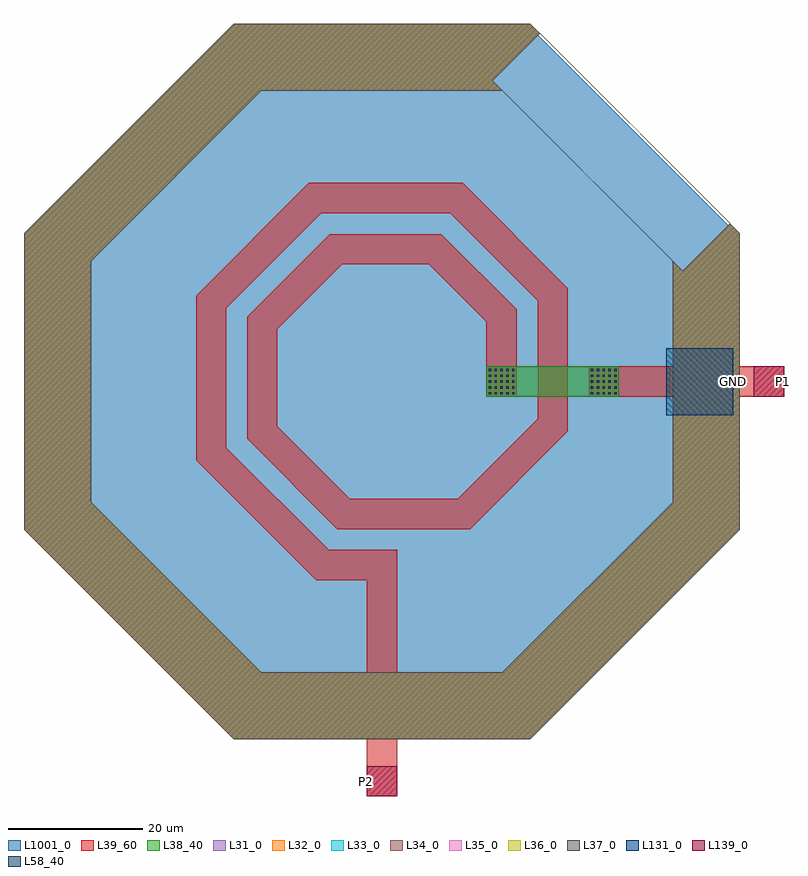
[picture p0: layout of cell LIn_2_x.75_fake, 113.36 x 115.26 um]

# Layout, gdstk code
import gdstk
lib = gdstk.Library(unit=1e-6, precision=1e-09)
def R(c, l, rs):  # rectangles x0, y0, x1, y1
    for r in rs: c.add(gdstk.rectangle(r[:2], r[2:], *l))
def A(c, l, x, y, w, h, nx, ny, dx, dy):  # array of equal rectangles
    R(c, l, [(x+i*dx, y+j*dy, x+i*dx+w, y+j*dy+h) for i in range(nx) for j in range(ny)])
def P(c, l, *ps):  # polygons
    for p in ps: c.add(gdstk.Polygon(p, *l))
L31_0 = (31, 0)
L32_0 = (32, 0)
L33_0 = (33, 0)
L34_0 = (34, 0)
L35_0 = (35, 0)
L36_0 = (36, 0)
L37_0 = (37, 0)
L38_40 = (38, 40)
L39_60 = (39, 60)
L58_40 = (58, 40)
L131_0 = (131, 0)
L139_0 = (139, 0)
L1001_0 = (1001, 0)

lin_2_x_75_fake = lib.new_cell('LIn_2_x.75_fake')
P(lin_2_x_75_fake, L31_0, [(44.852,16.507),(51.923,23.578),(22.114,53.388),(-22.114,53.388),(-53.388,22.114),(-53.388,-22.114),(-22.114,-53.388),(22.114,-53.388),(53.388,-22.114),(53.388,22.114),(23.578,51.923),(16.507,44.852),(43.388,17.972),(43.388,-17.972),(17.972,-43.388),(-17.972,-43.388),(-43.388,-17.972),(-43.388,17.972),(-17.972,43.388),(17.972,43.388)])
P(lin_2_x_75_fake, L32_0, [(44.852,16.507),(51.923,23.578),(22.114,53.388),(-22.114,53.388),(-53.388,22.114),(-53.388,-22.114),(-22.114,-53.388),(22.114,-53.388),(53.388,-22.114),(53.388,22.114),(23.578,51.923),(16.507,44.852),(43.388,17.972),(43.388,-17.972),(17.972,-43.388),(-17.972,-43.388),(-43.388,-17.972),(-43.388,17.972),(-17.972,43.388),(17.972,43.388)])
P(lin_2_x_75_fake, L33_0, [(44.852,16.507),(51.923,23.578),(22.114,53.388),(-22.114,53.388),(-53.388,22.114),(-53.388,-22.114),(-22.114,-53.388),(22.114,-53.388),(53.388,-22.114),(53.388,22.114),(23.578,51.923),(16.507,44.852),(43.388,17.972),(43.388,-17.972),(17.972,-43.388),(-17.972,-43.388),(-43.388,-17.972),(-43.388,17.972),(-17.972,43.388),(17.972,43.388)])
P(lin_2_x_75_fake, L34_0, [(44.852,16.507),(51.923,23.578),(22.114,53.388),(-22.114,53.388),(-53.388,22.114),(-53.388,-22.114),(-22.114,-53.388),(22.114,-53.388),(53.388,-22.114),(53.388,22.114),(23.578,51.923),(16.507,44.852),(43.388,17.972),(43.388,-17.972),(17.972,-43.388),(-17.972,-43.388),(-43.388,-17.972),(-43.388,17.972),(-17.972,43.388),(17.972,43.388)])
P(lin_2_x_75_fake, L35_0, [(44.852,16.507),(51.923,23.578),(22.114,53.388),(-22.114,53.388),(-53.388,22.114),(-53.388,-22.114),(-22.114,-53.388),(22.114,-53.388),(53.388,-22.114),(53.388,22.114),(23.578,51.923),(16.507,44.852),(43.388,17.972),(43.388,-17.972),(17.972,-43.388),(-17.972,-43.388),(-43.388,-17.972),(-43.388,17.972),(-17.972,43.388),(17.972,43.388)])
P(lin_2_x_75_fake, L36_0, [(44.852,16.507),(51.923,23.578),(22.114,53.388),(-22.114,53.388),(-53.388,22.114),(-53.388,-22.114),(-22.114,-53.388),(22.114,-53.388),(53.388,-22.114),(53.388,22.114),(23.578,51.923),(16.507,44.852),(43.388,17.972),(43.388,-17.972),(17.972,-43.388),(-17.972,-43.388),(-43.388,-17.972),(-43.388,17.972),(-17.972,43.388),(17.972,43.388)])
P(lin_2_x_75_fake, L37_0, [(44.852,16.507),(51.923,23.578),(22.114,53.388),(-22.114,53.388),(-53.388,22.114),(-53.388,-22.114),(-22.114,-53.388),(22.114,-53.388),(53.388,-22.114),(53.388,22.114),(23.578,51.923),(16.507,44.852),(43.388,17.972),(43.388,-17.972),(17.972,-43.388),(-17.972,-43.388),(-43.388,-17.972),(-43.388,17.972),(-17.972,43.388),(17.972,43.388)])
R(lin_2_x_75_fake, L38_40, [(15.595,-2.25,35.345,2.25)])
P(lin_2_x_75_fake, L38_40, [(44.852,16.507),(51.923,23.578),(22.114,53.388),(-22.114,53.388),(-53.388,22.114),(-53.388,-22.114),(-22.114,-53.388),(22.114,-53.388),(53.388,-22.114),(53.388,22.114),(23.578,51.923),(16.507,44.852),(43.388,17.972),(43.388,-17.972),(17.972,-43.388),(-17.972,-43.388),(-43.388,-17.972),(-43.388,17.972),(-17.972,43.388),(17.972,43.388)])
R(lin_2_x_75_fake, L39_60, [(-2.25,-61.875,2.25,-25.125), (30.845,-2.25,59.97,2.25)])
P(lin_2_x_75_fake, L39_60, [(15.595,-2.25),(20.095,-2.25),(20.095,10.787),(8.882,22),(-7.767,22),(-20.095,9.672),(-20.095,-8.552),(-6.647,-22),(13.157,-22),(27.72,-7.437),(27.72,13.947),(12.042,29.625),(-10.922,29.625),(-27.72,12.827),(-27.72,-11.712),(-9.807,-29.625),(0,-29.625),(0,-25.125),(-7.943,-25.125),(-23.22,-9.848),(-23.22,10.963),(-9.058,25.125),(10.178,25.125),(23.22,12.083),(23.22,-5.573),(11.293,-17.5),(-4.783,-17.5),(-15.595,-6.688),(-15.595,7.808),(-5.903,17.5),(7.018,17.5),(15.595,8.923)],
  [(44.852,16.507),(51.923,23.578),(22.114,53.388),(-22.114,53.388),(-53.388,22.114),(-53.388,-22.114),(-22.114,-53.388),(22.114,-53.388),(53.388,-22.114),(53.388,22.114),(23.578,51.923),(16.507,44.852),(43.388,17.972),(43.388,-17.972),(17.972,-43.388),(-17.972,-43.388),(-43.388,-17.972),(-43.388,17.972),(-17.972,43.388),(17.972,43.388)])
A(lin_2_x_75_fake, L58_40, 15.928, -1.915, 0.35, 0.35, 5, 5, 0.87, 0.87)
A(lin_2_x_75_fake, L58_40, 31.178, -1.915, 0.35, 0.35, 5, 5, 0.87, 0.87)
R(lin_2_x_75_fake, L131_0, [(42.375,-5,52.375,5)])
R(lin_2_x_75_fake, L139_0, [(-2.25,-61.875,2.25,-57.375), (55.47,-2.25,59.97,2.25)])
P(lin_2_x_75_fake, L1001_0, [(53.007,21.956),(21.956,53.007),(-21.956,53.007),(-53.007,21.956),(-53.007,-21.956),(-21.956,-53.007),(21.956,-53.007),(53.007,-21.956)],
  [(53.007,21.956),(21.956,53.007),(-21.956,53.007),(-53.007,21.956),(-53.007,-21.956),(-21.956,-53.007),(21.956,-53.007),(53.007,-21.956)],
  [(53.007,21.956),(21.956,53.007),(-21.956,53.007),(-53.007,21.956),(-53.007,-21.956),(-21.956,-53.007),(21.956,-53.007),(53.007,-21.956)],
  [(53.007,21.956),(21.956,53.007),(-21.956,53.007),(-53.007,21.956),(-53.007,-21.956),(-21.956,-53.007),(21.956,-53.007),(53.007,-21.956)],
  [(53.007,21.956),(21.956,53.007),(-21.956,53.007),(-53.007,21.956),(-53.007,-21.956),(-21.956,-53.007),(21.956,-53.007),(53.007,-21.956)],
  [(53.007,21.956),(21.956,53.007),(-21.956,53.007),(-53.007,21.956),(-53.007,-21.956),(-21.956,-53.007),(21.956,-53.007),(53.007,-21.956)],
  [(53.007,21.956),(21.956,53.007),(-21.956,53.007),(-53.007,21.956),(-53.007,-21.956),(-21.956,-53.007),(21.956,-53.007),(53.007,-21.956)],
  [(53.007,21.956),(21.956,53.007),(-21.956,53.007),(-53.007,21.956),(-53.007,-21.956),(-21.956,-53.007),(21.956,-53.007),(53.007,-21.956)],
  [(53.007,21.956),(21.956,53.007),(-21.956,53.007),(-53.007,21.956),(-53.007,-21.956),(-21.956,-53.007),(21.956,-53.007),(53.007,-21.956)])
lin_2_x_75_fake.add(gdstk.Label('P1', (59.968,0), layer=139, texttype=0))
lin_2_x_75_fake.add(gdstk.Label('P2', (-2.25,-59.624), layer=139, texttype=0))
lin_2_x_75_fake.add(gdstk.Label('GND', (52.374,0), layer=131, texttype=0))

lib.write_gds('LIn_2_x.75_fake.gds')
